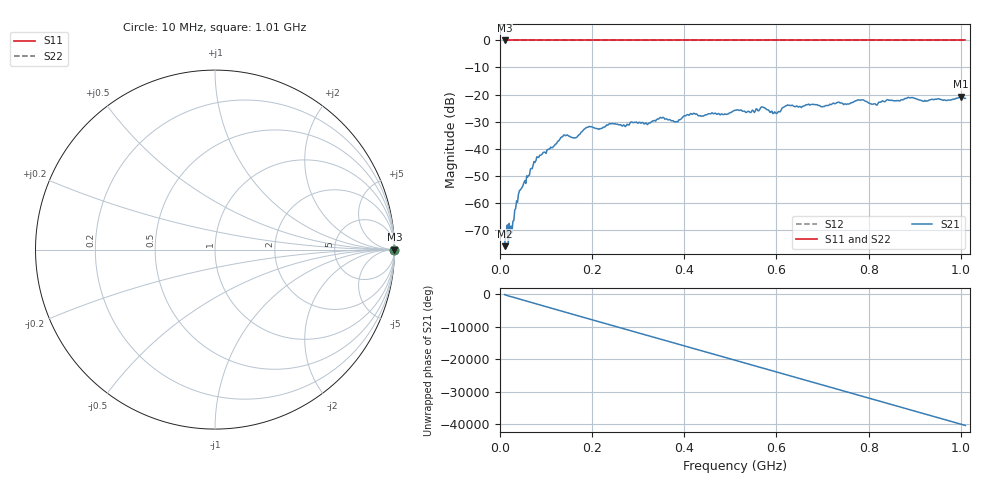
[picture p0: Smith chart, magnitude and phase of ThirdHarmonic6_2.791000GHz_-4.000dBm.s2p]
! 8/17/2025 7:12:52 AM
! C:\ANRITSUVNA\TEMP\TEMP.S2P
! CHANNEL.1
! TR.MEASUREMENT
! RAW.DATA
! RF.CORRECTION.OFF
! AVERAGING.OFF
! IF.BANDWIDTH: 5KHZ
! SWEEPTYPE:  FREQ.SWEEP(Linear)
! Reference Plane Port Info
! PORT:  PORT1  PORT2
! DISTANCE:  0  m  0  m
! TIME:  0  s  0  s
! PHASE.OFFSET:  0  deg.  0  deg.
! LOSS:  0  dB  0  dB
! REF.LOSS:  0  dB  0  dB
! REF.FREQ:  0  Hz  0  Hz
! Power Info
! POWER:  -20  dBm  -20  dBm
! EFF.POWER:  -20  dBm  -20  dBm
! SOURCE.ATTEN:  0  dB  0  dB
! TEST.ATTEN:  0  dB  0  dB
# GHZ S RI R 50.0
! FREQ.GHZ  S11RE  S11IM  S21RE  S21IM  S12RE  S12IM  S22RE  S22IM
!; PortSelection: Port_12
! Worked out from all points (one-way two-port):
!   501 points, 10 MHz to 1.01 GHz, reference 50 ohm
!   highest |S21| = -20.81 dB at 1 GHz (marker M1); lowest = -76.1 dB at 10 MHz (marker M2)
!   lowest |S11| = 0.0 dB at 10 MHz (marker M3)
!   |S11| at or under -10 dB: nowhere
!   |S22| runs from 0.0 to 0.0 dB; largest |S21 - S12| = 1.1
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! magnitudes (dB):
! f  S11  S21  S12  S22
! 10 MHz  0.0  -76.1  0.0  0.0
! 16 MHz  0.0  -68.2  0.0  0.0
! 26 MHz  0.0  -71.0  0.0  0.0
! 44 MHz  0.0  -55.3  0.0  0.0
! 78 MHz  0.0  -44.4  0.0  0.0
! 136 MHz  0.0  -35.6  0.0  0.0
! 162 MHz  0.0  -36.1  0.0  0.0
! 178 MHz  0.0  -33.7  0.0  0.0
! 194 MHz  0.0  -31.8  0.0  0.0
! 322 MHz  0.0  -30.8  0.0  0.0
! 344 MHz  0.0  -29.1  0.0  0.0
! 382 MHz  0.0  -30.1  0.0  0.0
! 416 MHz  0.0  -27.2  0.0  0.0
! 510 MHz  0.0  -25.8  0.0  0.0
! 570 MHz  0.0  -24.6  0.0  0.0
! 596 MHz  0.0  -26.4  0.0  0.0
! 624 MHz  0.0  -23.9  0.0  0.0
! 678 MHz  0.0  -23.6  0.0  0.0
! 814 MHz  0.0  -23.4  0.0  0.0
! 844 MHz  0.0  -22.1  0.0  0.0
! 1 GHz  0.0  -20.8  0.0  0.0
! 1.01 GHz  0.0  -21.4  0.0  0.0
